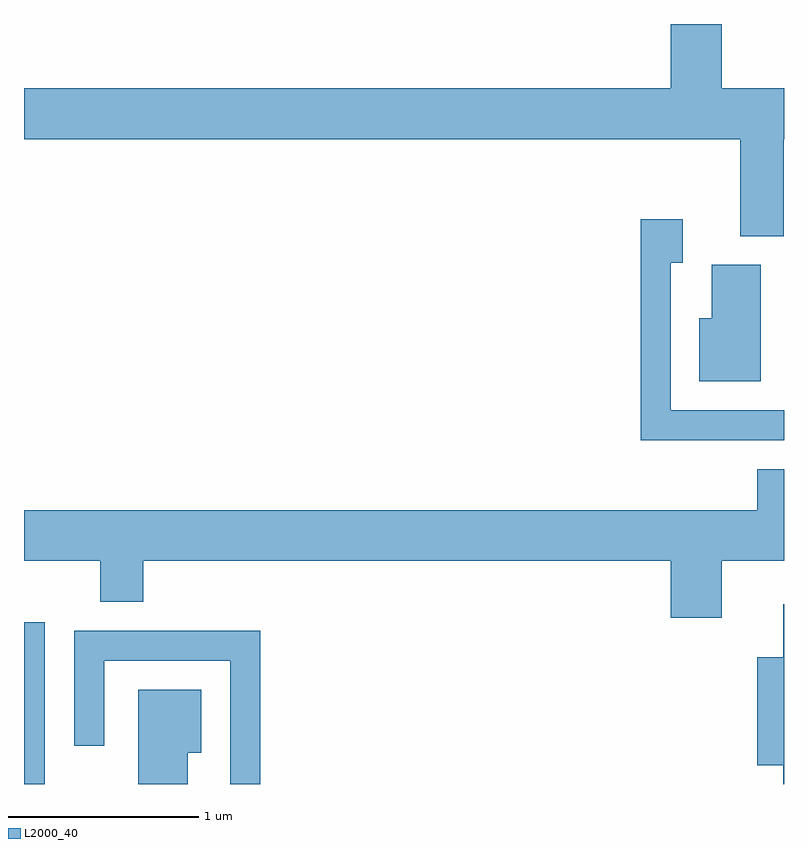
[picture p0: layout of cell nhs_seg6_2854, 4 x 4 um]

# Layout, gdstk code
import gdstk
lib = gdstk.Library(unit=1e-6, precision=1e-09)
def R(c, l, rs):  # rectangles x0, y0, x1, y1
    for r in rs: c.add(gdstk.rectangle(r[:2], r[2:], *l))
def P(c, l, *ps):  # polygons
    for p in ps: c.add(gdstk.Polygon(p, *l))
L2000_40 = (2000, 40)

nhs_seg6_2854 = lib.new_cell('nhs_seg6_2854')
R(nhs_seg6_2854, L2000_40, [(271.611,1582.162,271.719,1583.014)])
P(nhs_seg6_2854, L2000_40, [(275.609,1585.556),(275.611,1585.556),(275.611,1585.824),(275.284,1585.824),(275.284,1586.162),(275.016,1586.162),(275.016,1585.824),(271.611,1585.824),(271.611,1585.556),(275.381,1585.556),(275.381,1585.046),(275.609,1585.046)],
  [(275.611,1584.129),(275.014,1584.129),(275.014,1584.906),(275.079,1584.906),(275.079,1585.134),(274.856,1585.134),(274.856,1583.971),(275.611,1583.971)],
  [(275.489,1584.894),(275.231,1584.894),(275.231,1584.614),(275.166,1584.614),(275.166,1584.281),(275.489,1584.281)],
  [(275.284,1583.336),(275.611,1583.336),(275.611,1583.819),(275.471,1583.819),(275.471,1583.604),(271.611,1583.604),(271.611,1583.336),(272.011,1583.336),(272.011,1583.121),(272.239,1583.121),(272.239,1583.336),(275.016,1583.336),(275.016,1583.036),(275.284,1583.036)],
  [(275.611,1583.109),(275.606,1583.109),(275.606,1582.829),(275.471,1582.829),(275.471,1582.261),(275.606,1582.261),(275.606,1582.162),(275.611,1582.162)],
  [(272.854,1582.969),(271.876,1582.969),(271.876,1582.363),(272.034,1582.363),(272.034,1582.811),(272.696,1582.811),(272.696,1582.162),(272.854,1582.162)],
  [(272.474,1582.326),(272.544,1582.326),(272.544,1582.659),(272.211,1582.659),(272.211,1582.162),(272.474,1582.162)])

lib.write_gds('nhs_seg6_2854.gds')
